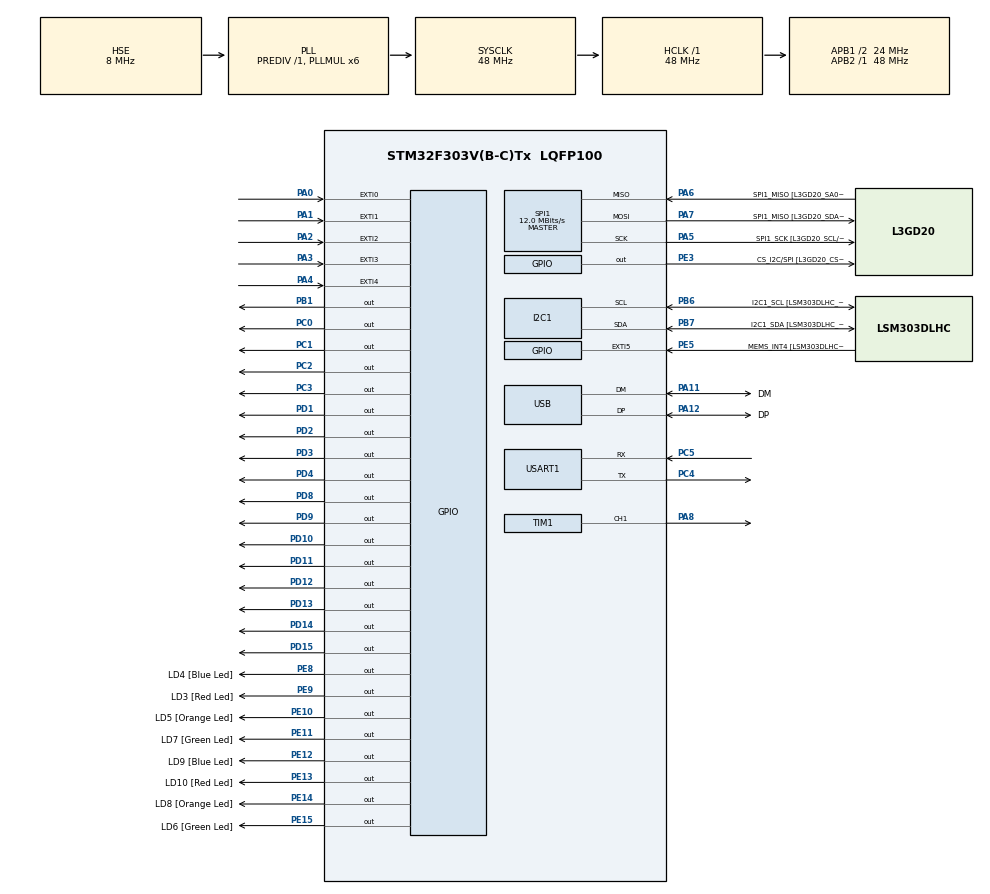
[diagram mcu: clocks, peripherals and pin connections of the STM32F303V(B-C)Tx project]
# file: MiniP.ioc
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I2C1.Timing=0x2000090E
I2C1.Timing-I2C=0x2000090E
Mcu.Family=STM32F3
Mcu.Name=STM32F303V(B-C)Tx
Mcu.Package=LQFP100
NVIC.EXTI0_IRQn=true\:0\:0\:false\:false\:true\:true\:true
NVIC.EXTI1_IRQn=true\:0\:0\:false\:false\:true\:true\:true
NVIC.EXTI2_TSC_IRQn=true\:0\:0\:false\:false\:true\:true\:true
NVIC.EXTI3_IRQn=true\:0\:0\:false\:false\:true\:true\:true
NVIC.EXTI4_IRQn=true\:0\:0\:false\:false\:true\:true\:true
NVIC.PriorityGroup=NVIC_PRIORITYGROUP_0
NVIC.TIM2_IRQn=true\:0\:0\:false\:false\:true\:true\:true
NVIC.TIM3_IRQn=true\:0\:0\:false\:false\:true\:true\:true
NVIC.TIM4_IRQn=true\:0\:0\:false\:false\:true\:true\:true
NVIC.USART1_IRQn=true\:0\:0\:false\:false\:true\:true\:true
PA0.Signal=GPXTI0
PA1.Signal=GPXTI1
PA11.GPIO_Label=DM
PA11.Mode=Device
PA11.Signal=USB_DM
PA12.GPIO_Label=DP
PA12.Mode=Device
PA12.Signal=USB_DP
PA13.GPIO_Label=SWDIO
PA13.Mode=Serial_Wire
PA13.Signal=SYS_JTMS-SWDIO
PA14.GPIO_Label=SWCLK
PA14.Mode=Serial_Wire
PA14.Signal=SYS_JTCK-SWCLK
PA2.Signal=GPXTI2
PA3.GPIO_PuPd=GPIO_PULLDOWN
PA3.Signal=GPXTI3
PA4.GPIO_PuPd=GPIO_PULLDOWN
PA4.Signal=GPXTI4
PA5.GPIO_Label=SPI1_SCK [L3GD20_SCL/SPC]
PA5.Mode=Full_Duplex_Master
PA5.Signal=SPI1_SCK
PA6.GPIO_Label=SPI1_MISO [L3GD20_SA0/SDO]
PA6.Mode=Full_Duplex_Master
PA6.Signal=SPI1_MISO
PA7.GPIO_Label=SPI1_MISO [L3GD20_SDA/SDI/SDO]
PA7.Mode=Full_Duplex_Master
PA7.Signal=SPI1_MOSI
PA8.Signal=S_TIM1_CH1
PB1.Signal=GPIO_Output
PB3.GPIO_Label=SWO
PB3.Signal=SYS_JTDO-TRACESWO
PB6.GPIO_Label=I2C1_SCL [LSM303DLHC_SCL]
PB6.GPIO_Pu=GPIO_PULLUP
PB6.Mode=I2C
PB6.Signal=I2C1_SCL
PB7.GPIO_Label=I2C1_SDA [LSM303DLHC_SDA]
PB7.GPIO_Pu=GPIO_PULLUP
PB7.Mode=I2C
PB7.Signal=I2C1_SDA
PC0.Signal=GPIO_Output
PC1.Signal=GPIO_Output
PC14-OSC32_IN.GPIO_Label=OSC32_IN
PC14-OSC32_IN.Signal=RCC_OSC32_IN
PC15-OSC32_OUT.GPIO_Label=OSC32_OUT
PC15-OSC32_OUT.Signal=RCC_OSC32_OUT
PC2.Signal=GPIO_Output
PC3.Signal=GPIO_Output
PC4.Mode=Asynchronous
PC4.Signal=USART1_TX
PC5.Mode=Asynchronous
PC5.Signal=USART1_RX
PD1.Signal=GPIO_Output
PD10.Signal=GPIO_Output
PD11.Signal=GPIO_Output
PD12.Signal=GPIO_Output
PD13.Signal=GPIO_Output
PD14.Signal=GPIO_Output
PD15.Signal=GPIO_Output
PD2.Signal=GPIO_Output
PD3.Signal=GPIO_Output
PD4.Signal=GPIO_Output
PD8.Signal=GPIO_Output
PD9.Signal=GPIO_Output
PE10.GPIO_Label=LD5 [Orange Led]
PE10.Signal=GPIO_Output
PE11.GPIO_Label=LD7 [Green Led]
PE11.Signal=GPIO_Output
PE12.GPIO_Label=LD9 [Blue Led]
PE12.Signal=GPIO_Output
PE13.GPIO_Label=LD10 [Red Led]
PE13.Signal=GPIO_Output
PE14.GPIO_Label=LD8 [Orange Led]
PE14.Signal=GPIO_Output
PE15.GPIO_Label=LD6 [Green Led]
PE15.Signal=GPIO_Output
PE3.GPIO_Label=CS_I2C/SPI [L3GD20_CS_I2C/SPI]
PE3.Signal=GPIO_Output
PE5.GPIO_Label=MEMS_INT4 [LSM303DLHC_INT2]
PE5.GPIO_ModeDefaultEXTI=GPIO_MODE_EVT_RISING
PE5.Signal=GPXTI5
PE8.GPIO_Label=LD4 [Blue Led]
PE8.Signal=GPIO_Output
PE9.GPIO_Label=LD3 [Red Led]
PE9.Signal=GPIO_Output
PF0-OSC_IN.GPIO_Label=OSC_IN
PF0-OSC_IN.Mode=HSE-External-Clock-Source
PF0-OSC_IN.Signal=RCC_OSC_IN
PF1-OSC_OUT.GPIO_Label=OSC_OUT
PF1-OSC_OUT.Signal=RCC_OSC_OUT
ProjectManager.HeapSize=0x200
ProjectManager.StackSize=0x400
ProjectManager.TargetToolchain=STM32CubeIDE
RCC.AHBFreq_Value=48000000
RCC.APB1CLKDivider=RCC_HCLK_DIV2
RCC.APB1Freq_Value=24000000
RCC.APB1TimFreq_Value=48000000
RCC.APB2Freq_Value=48000000
RCC.APB2TimFreq_Value=48000000
RCC.CortexFreq_Value=48000000
RCC.HCLKFreq_Value=48000000
RCC.HSE_VALUE=8000000
RCC.HSI_VALUE=8000000
RCC.LSE_VALUE=32768
RCC.PLLMUL=RCC_PLL_MUL6
RCC.SYSCLKFreq_VALUE=48000000
RCC.SYSCLKSourceVirtual=RCC_SYSCLKSOURCE_PLLCLK
RCC.USBFreq_Value=48000000
SH.S_TIM1_CH1.0=TIM1_CH1,PWM Generation1 CH1
SPI1.BaudRatePrescaler=SPI_BAUDRATEPRESCALER_4
SPI1.BaudRatePrescaler-Full_Duplex_Master=SPI_BAUDRATEPRESCALER_2
SPI1.CalculateBaudRate=12.0 MBits/s
SPI1.CalculateBaudRate-Full_Duplex_Master=24.0 MBits/s
SPI1.Direction=SPI_DIRECTION_2LINES
SPI1.Mode=SPI_MODE_MASTER
SPI1.Mode-Full_Duplex_Master=SPI_MODE_MASTER
SPI1.VirtualType=VM_MASTER
TIM1.Channel-PWM\ Generation1\ CH1=TIM_CHANNEL_1
TIM2.Period=1000
TIM2.Prescaler=143
TIM3.Period=10000
TIM3.Prescaler=4799
TIM4.Period=10000
TIM4.Prescaler=1199
USART1.VirtualMode-Asynchronous=VM_ASYNC
VP_TIM1_VS_ClockSourceINT.Mode=Internal
VP_TIM2_VS_ClockSourceINT.Mode=Internal
VP_TIM3_VS_ClockSourceINT.Mode=Internal
VP_TIM4_VS_ClockSourceINT.Mode=Internal
board=STM32F3DISCOVERY

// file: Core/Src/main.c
/* USER CODE BEGIN Header */
/**
  ******************************************************************************
  * @file           : main.c
  * @brief          : Main program body
  ******************************************************************************
  * @attention
  *
  * <h2><center>&copy; Copyright (c) 2022 STMicroelectronics.
  * All rights reserved.</center></h2>
  *
  * This software component is licensed by ST under BSD 3-Clause license,
  * the "License"; You may not use this file except in compliance with the
  * License. You may obtain a copy of the License at:
  *                        opensource.org/licenses/BSD-3-Clause
  *
  ******************************************************************************
  */
/* USER CODE END Header */
#include "main.h"

/* USER CODE BEGIN Includes */
#include <stdlib.h>
#include <string.h>
#include <malloc.h>

/* USER CODE END Includes */

/* USER CODE BEGIN PTD */
typedef enum {down=-1, fixed,up} direction;
typedef enum {false, true} bool;
typedef enum {off, on} key;
typedef struct
{
    uint16_t frequency;
    uint16_t duration;
} Tone;
/* USER CODE END PTD */

/* USER CODE BEGIN PD */
#define MINWAIT 500
#define MAXWAIT 5000
#define QMINLENGTH 1
#define QMAXLENGTH 9
#define MINMELODYNUM 1
#define MAXMELODYNUM MINMELODYNUM + melodyCount -1

/* USER CODE END PD */

I2C_HandleTypeDef hi2c1;

SPI_HandleTypeDef hspi1;

TIM_HandleTypeDef htim1;
TIM_HandleTypeDef htim2;
TIM_HandleTypeDef htim3;
TIM_HandleTypeDef htim4;

UART_HandleTypeDef huart1;

PCD_HandleTypeDef hpcd_USB_FS;

/* USER CODE BEGIN PV */
key alarmed=off;
key alarmedLED=on;
key alarmedLEDEntry=on;
key alarmedLEDTurn=on;
key music=on;
key musicEntry=on;
key adminPanel=false;
direction dir=fixed;
int i=0;
int last=0;
int curLevel=0;
int minLevel=0;
int maxLevel=9;
int pass=123;
int passEntry;
int maxLevelEntry=9;
int curLevelEntry=9;
int waitEntry=900;
int extraCommonLevels=0;
int melodyCount=2;
int melodyNum=1;
int melodyNumEntry=1;
int curDest=0;
int newDest=0;
int qLength=0;
int digitIndex=0;
int waitDuration=2000;
TIM_HandleTypeDef *wait_timer = &htim3;	// Point to PWM Timer configured in CubeMX
int levelsQueue[QMAXLENGTH];
int levelsQueueEntry[QMAXLENGTH];//NULL
char input[20];//"20c"
char sample[QMAXLENGTH];
//int sample;
char OTest[5];
char output[50];
/* USER CODE END PV */

void SystemClock_Config(void);
static void MX_GPIO_Init(void);
static void MX_I2C1_Init(void);
static void MX_SPI1_Init(void);
static void MX_USB_PCD_Init(void);
static void MX_TIM2_Init(void);
static void MX_TIM3_Init(void);
static void MX_TIM4_Init(void);
static void MX_USART1_UART_Init(void);
static void MX_TIM1_Init(void);
/* USER CODE BEGIN PFP */
int round100(int);
char* keyName(int keyValue);
void selectionSort(int[], int);
char* substring(char*, int, int);
void setMelody(int i);
extern volatile uint16_t volume;
extern Tone super_mario_bros[];
extern Tone harrypotter[];
extern int super_mario_bros_size;
extern int harrypotter_size;
extern void PWM_Start();
extern void PWM_Change_Tone(uint16_t pwm_freq, uint16_t volume);
extern void Change_Melody(const Tone *melody, uint16_t tone_count);
extern void Update_Melody();
extern void numberToBCD(int i);
extern void showSS(int i);
/* USER CODE END PFP */

/* USER CODE BEGIN 0 */
void testNum(char text[50],int num){
	char OPTest[50];
	sprintf(OPTest, "%s:%d\n", text,num);
	HAL_UART_Transmit(&huart1, OPTest, strlen(OPTest),100);
}
void deQueue(){
	curDest=levelsQueue[0];
	qLength--;
	for(int i=0;i<qLength;i++)
		levelsQueue[i]=levelsQueue[i+1];
	levelsQueue[qLength]=NULL;
	HAL_GPIO_WritePin(GPIOE, GPIO_PIN_8<<i%8, 1);
	i++;
}
void HAL_TIM_PeriodElapsedCallback(TIM_HandleTypeDef *htim)
{
    if (htim->Instance == TIM2)
    {
    	//Test
    	//sprintf(output, "%d-", curLevel);
	    //HAL_UART_Transmit(&huart1, output, strlen(output),100);

    	//Seven Segment
    	  HAL_GPIO_WritePin(GPIOD, GPIO_PIN_1|GPIO_PIN_2|GPIO_PIN_3|GPIO_PIN_4, 1);
    	  if(!(alarmed && !alarmedLEDTurn)){
    		  HAL_GPIO_WritePin(GPIOD,GPIO_PIN_0<<(digitIndex+1),0);
    	  }

    	  showSS(digitIndex+1);
    	  digitIndex++;
    	  digitIndex%=4;

    	//LED
			HAL_GPIO_WritePin(GPIOB,GPIO_PIN_1,alarmed && alarmedLED && alarmedLEDTurn);

		//Direction
			dir=(curDest<=curLevel)?((curDest<curLevel)?-1:0):1;

    	//Buzzer
		if(alarmed){
			HAL_GPIO_WritePin(GPIOE,GPIO_PIN_8<<0,2);
			const uint32_t internal_clock_freq = HAL_RCC_GetSysClockFreq();
			const uint32_t period_cycles = (waitDuration<2000)?10000:20000;
			const uint32_t prescaler =  internal_clock_freq/1000*waitDuration / period_cycles ;
			wait_timer->Instance->PSC = prescaler -1 ;
			wait_timer->Instance->ARR = period_cycles;
			}
		else if(music){
			HAL_GPIO_WritePin(GPIOE,GPIO_PIN_8<<0,1);
			  Update_Melody();
		}
		}

    if (htim->Instance == TIM3)
    {

    	if(curLevel==curDest){
    		if(qLength!=0){
    			HAL_GPIO_WritePin(GPIOE, GPIO_PIN_8<<i%8, 1);
    			i++;
    			deQueue();
    		}
    	}
    	else{
    		(curLevel<curDest)?curLevel++:curLevel--;
    	}

    }
    if (htim->Instance == TIM4)
    {

    	alarmedLEDTurn=!alarmedLEDTurn;
    	volume=volume?0:3;
    	if(alarmed)
    	PWM_Change_Tone(300,volume);
    }

}
void HAL_GPIO_EXTI_Callback(uint16_t GPIO_Pin)
{
	if(HAL_GetTick()-last<100){
		  return;
	  }

	else if (GPIO_Pin == GPIO_PIN_0){
    	}
	else if (GPIO_Pin == GPIO_PIN_1 && HAL_GPIO_ReadPin(GPIOA, GPIO_PIN_1)){
    	alarmed=!alarmed;
		sprintf(output, "Alarm button pressed!-->Alarm state is[%s]!\n", keyName(alarmed));
    	PWM_Change_Tone(300,0);
    	HAL_GPIO_WritePin(GPIOB,GPIO_PIN_1,0);
    }
	else if (GPIO_Pin == GPIO_PIN_2 && HAL_GPIO_ReadPin(GPIOA, GPIO_PIN_2)){
		if(qLength<5){
			int qIndex=0;
    		for(qIndex=0;qIndex<QMAXLENGTH;qIndex++)
    			if(newDest==levelsQueue[qIndex-1]){
    				sprintf(output, "Assign button pressed!-->new destination[%d] exists in level queue!\n", newDest);
    				return;
    			}
    		if(qIndex==QMAXLENGTH){
    			sprintf(output, "Assign button pressed!-->new destination[%d] assigned to level queue successfully!\n", newDest);
    			levelsQueue[qLength++]=newDest;
    			selectionSort(levelsQueue,qLength);
    			for(qIndex=0;qIndex<qLength/2;qIndex++){
    				if(levelsQueue[qIndex]<curDest){
    					int temp=levelsQueue[qIndex];
    					levelsQueue[qIndex]=levelsQueue[qLength-1];
    					levelsQueue[qLength-1]=temp;
    				}

    			}
    		}
		}
    }
	else if (GPIO_Pin == GPIO_PIN_3 ){
    	if(0<newDest){
    		newDest--;
    		sprintf(output, "decrease level button pressed!-->new potential destination is[%d]!\n", newDest);
    	}
    	else{
    		sprintf(output, "decrease level button pressed!-->potential destination had already reached to its minimum level[%d]!\n", minLevel);
    	}

	}
	else if (GPIO_Pin == GPIO_PIN_4){
		if(newDest<maxLevel){
			newDest++;
		    sprintf(output, "Increase level button pressed!-->new potential destination is[%d]!\n", newDest);
		}
		else{
		    sprintf(output, "Increase level button pressed!-->potential destination had already reached to its maximum level[%d]!\n", maxLevel);
		 }

	}
	HAL_UART_Transmit(&huart1, output, strlen(output),100);
    last=HAL_GetTick();
}
/*ADMIN#Pass065 068 077 073 078 035 049 050 051 000 000 000 000 000 000 000 000 000 000 000 000 000 000 000 000 000 000 000
 *SET MAX LEVEL [99]083 069 084 032 077 065 088 032 076 069 086 069 076 032 091 057 057 093 000 000 000 000 000 000 000 000 000 000
 *SET LEVEL [9]083 069 084 032 076 069 086 069 076 032 091 057 093 000 000 000 000 000 000 000 000 000 000 000 000 000 000 000
 *SET WAIT [900]083 069 084 032 087 065 073 084 032 091 057 048 048 093 000 000 000 000 000 000 000 000 000 000 000 000 000 000
 *SET LED OFF083 069 084 032 076 069 068 032 079 070 070 000 000 000 000 000 000 000 000 000 000 000 000 000 000 000 000 000
 *SET MUSIC OFF083 069 084 032 076 069 068 032 079 070 070 000 000 000 000 000 000 000 000 000 000 000 000 000 000 000 000 000
 *SET MELODY [2]083 069 084 032 077 069 076 079 068 089 032 091 050 093 000 000 000 000 000 000 000 000 000 000 000 000 000 000
 *TEST#sample084 069 083 084 035 050 048 051 049 057 000 000 000 000 000 000 000 000 000 000 000 000 000 000 000 000 000 000
 * */
void HAL_UART_RxCpltCallback(UART_HandleTypeDef *huart)
{
    if (huart->Instance == USART1)
    {
    	if(qLength==0){
    		if(!strcmp(substring(input, 1, 6),"ADMIN#")){
    		    //strncpy(sample, substring(input, 7, 14), 14);
    		    passEntry = atoi(substring(input, 7, 14));
    		    if(adminPanel){
    				sprintf(output, "You have already entered the admin panel successfully!\n");
    			}
    		    else{
    		    	if(passEntry==pass){
    		    		adminPanel=true;
    		    	    sprintf(output, "You entered the admin panel successfully!\n");
    		    	}else{
    		    		sprintf(output, "Wrong password!\n");
    		    	}
    		    }
    		}
    		else{
    			sprintf(output, "Please Enter the admin panel first!\n");
    		}
    		if(adminPanel){
				if(!strcmp(substring(input, 1, 4),"SET ")){
					if(!strcmp(substring(input, 5, 10),"MAX LEVEL ")){
					  //not string

						maxLevelEntry = atoi(substring(input, 16, 5));
						//sscanf(substring(input, 16, 1), "%d", &maxLevelEntry);
						if(maxLevelEntry<0){
							sprintf(output, "New max level[%d] is Less Than 0!\n", maxLevelEntry);
						}
						else if(9<maxLevelEntry){
							sprintf(output, "New max level[%d] is more Than 9!\n", maxLevelEntry);
						}
						else{
							sprintf(output, "New max level[%d] assigned successfully!\n", maxLevelEntry);
							maxLevel=maxLevelEntry;
						}

						//sprintf(OTest, "%d\n", maxLevel);
						//HAL_GPIO_WritePin(GPIOE, GPIO_PIN_8<<maxLevel-5, 1);
						//HAL_UART_Transmit(&huart1, OTest, sizeof(OTest),100);
					}
					else if(!strcmp(substring(input, 5, 6),"LEVEL ")){
						curLevelEntry = atoi(substring(input, 12, 9));
						if(curLevelEntry<0){
							sprintf(output, "New level[%d] is Less Than max level[%d]!\n", curLevelEntry, maxLevel);
						}
						else if(maxLevel<curLevelEntry){
							sprintf(output, "New level[%d] is more Than max level[%d]!\n", curLevelEntry, maxLevel);
						}
						else{
							sprintf(output, "New level[%d] assigned successfully!\n", curLevelEntry);
							curLevel=curLevelEntry;
							curDest=curLevel;
						}
					}
					else if(!strcmp(substring(input, 5, 5),"WAIT ")){
						waitEntry = atoi(substring(input, 11, 10));
						if(waitEntry<MINWAIT){
							sprintf(output, "New wait[%d] is Less Than min wait[%d]!\n", waitEntry, MINWAIT);
						}
						else if(MAXWAIT<waitEntry){
							sprintf(output, "New wait[%d] is more Than max wait[%d]!\n", waitEntry, MAXWAIT);
						}
						else{
							if(waitEntry%100==0)
								sprintf(output, "New wait[%d] assigned successfully!\n", waitEntry);
							else
								sprintf(output, "Approximated value[%d] from new wait[%d] assigned successfully!\n",round100(waitEntry), waitEntry);
							waitDuration=waitEntry;
						}
					}
					else if(!strcmp(substring(input, 5, 4),"LED ")){
						alarmedLEDEntry=strcmp(substring(input, 9, 2),"OF")?1:0;
						sprintf(output, "New alarmed LED state[%s] assigned to old alarmed LED state[%s] successfully!\n", keyName(alarmedLEDEntry), keyName(alarmedLED));
						//testNum("alarmedLEDEntry",alarmedLEDEntry);
						//testNum("alarmedLED",alarmedLED);
						alarmedLED=alarmedLEDEntry;

						}
					else if(!strcmp(substring(input, 5, 6),"MUSIC ")){
						musicEntry=strcmp(substring(input, 11, 2),"OF")?1:0;
						sprintf(output, "New MUSIC state[%s] assigned to old MUSIC state[%s] successfully!\n", keyName(musicEntry), keyName(music));
						//testNum("musicEntry",musicEntry);
						//testNum("music",music);
						music=musicEntry;
						PWM_Change_Tone(0,0);
						}
					else if(!strcmp(substring(input, 5, 7),"MELODY ")){
						melodyNumEntry = atoi(substring(input, 13, 8));
						if(melodyNumEntry<MINMELODYNUM){
							sprintf(output, "New melody number[%d] is Less Than min melody number[%d]!\n", melodyNumEntry, MINMELODYNUM);
						}
						else if(MAXMELODYNUM<melodyNumEntry){
							sprintf(output, "New melody number[%d] is more Than max melody number[%d]!\n", melodyNumEntry, MAXMELODYNUM);
							}
						else if(melodyNumEntry==melodyNum){
							sprintf(output, "New melody number[%d] is same as old melody number[%d]!\n", melodyNumEntry, melodyNum);
						}
						else{
							sprintf(output, "New melody number[%d] assigned to old melody number[%d] successfully!!\n", melodyNumEntry, melodyNum);
							melodyNum=melodyNumEntry;
							setMelody(melodyNum);
						}
						//testNum("musicEntry",musicEntry);
						//testNum("music",music);
						music=musicEntry;
						PWM_Change_Tone(0,0);
						}
				}
				else if(!strcmp(substring(input, 1, 5),"TEST#")){
					strncpy(sample, substring(input, 6, 15), 15);
					if(strlen(sample)<QMINLENGTH){
						sprintf(output, "New sample queue[%s] size[%d] is Less Than queue min length[%d]!\n", sample,strlen(sample), QMINLENGTH);
					}
					else if(QMAXLENGTH<strlen(sample)){
						sprintf(output, "New sample queue[%s] size[%d] is more Than queue max length[%d]!\n", sample,strlen(sample), QMAXLENGTH);
					}
					else{
						for(int i=0;i<strlen(sample);i++){
							sscanf(substring(sample, i+1, 1), "%d", &levelsQueueEntry[i]);
						}
						selectionSort(levelsQueueEntry, strlen(sample));
						extraCommonLevels=0;
						for(int i=1;i<strlen(sample);i++){
							if(levelsQueueEntry[i-1]==levelsQueueEntry[i]){
								extraCommonLevels++;
							}
						}
						if(extraCommonLevels){
							sprintf(output, "New sample queue[%s] has [%d] extra common levels!\n", sample,extraCommonLevels);
						}
						else{
							sprintf(output, "New sample queue[%s] assigned successfully!\n", sample,extraCommonLevels);
							qLength=strlen(sample);
							for(int i=0;i<qLength;i++){
								levelsQueue[i]=levelsQueueEntry[i];
								//testNum("levelsQueue[i]",levelsQueue[i]);
							}
							//testNum("levelsQueue[0]",qLength);
							selectionSort(levelsQueue,qLength);

						}
					}
					//waitEntry = atoi(substring(input, 6, 5));

				}
			}
    	}
    	else{
    		sprintf(output, "Please wait until the queue gets empty!\n", maxLevelEntry);
    	}
    	HAL_UART_Transmit(&huart1, output, strlen(output),100);
        //HAL_UART_Receive_IT(&huart1, input, 20);

    }
    //HAL_UART_Receive_IT(&huart1, input, 20);
}
/* USER CODE END 0 */

int main(void)
{

  /* MCU Configuration--------------------------------------------------------*/

  /* Reset of all peripherals, Initializes the Flash interface and the Systick. */
  HAL_Init();

  /* Configure the system clock */
  SystemClock_Config();

  /* Initialize all configured peripherals */
  MX_GPIO_Init();
  MX_I2C1_Init();
  MX_SPI1_Init();
  MX_USB_PCD_Init();
  MX_TIM2_Init();
  MX_TIM3_Init();
  MX_TIM4_Init();
  MX_USART1_UART_Init();
  MX_TIM1_Init();
  /* USER CODE BEGIN 2 */
	HAL_TIM_Base_Start_IT(&htim2);
	HAL_TIM_Base_Start_IT(&htim3);
	HAL_TIM_Base_Start_IT(&htim4);
	PWM_Start();
	setMelody(1);
	HAL_UART_Receive_IT(&huart1, input, sizeof(input));
	//testNum("volume",volume);
  /* USER CODE END 2 */

  /* Infinite loop */
  while (1)
  {

  }
}

void SystemClock_Config(void)
{
  RCC_OscInitTypeDef RCC_OscInitStruct = {0};
  RCC_ClkInitTypeDef RCC_ClkInitStruct = {0};
  RCC_PeriphCLKInitTypeDef PeriphClkInit = {0};

  /** Initializes the RCC Oscillators according to the specified parameters
  * in the RCC_OscInitTypeDef structure.
  */
  RCC_OscInitStruct.OscillatorType = RCC_OSCILLATORTYPE_HSI|RCC_OSCILLATORTYPE_HSE;
  RCC_OscInitStruct.HSEState = RCC_HSE_BYPASS;
  RCC_OscInitStruct.HSEPredivValue = RCC_HSE_PREDIV_DIV1;
  RCC_OscInitStruct.HSIState = RCC_HSI_ON;
  RCC_OscInitStruct.HSICalibrationValue = RCC_HSICALIBRATION_DEFAULT;
  RCC_OscInitStruct.PLL.PLLState = RCC_PLL_ON;
  RCC_OscInitStruct.PLL.PLLSource = RCC_PLLSOURCE_HSE;
  RCC_OscInitStruct.PLL.PLLMUL = RCC_PLL_MUL6;
  if (HAL_RCC_OscConfig(&RCC_OscInitStruct) != HAL_OK)
  {
    Error_Handler();
  }
  /** Initializes the CPU, AHB and APB buses clocks
  */
  RCC_ClkInitStruct.ClockType = RCC_CLOCKTYPE_HCLK|RCC_CLOCKTYPE_SYSCLK
                              |RCC_CLOCKTYPE_PCLK1|RCC_CLOCKTYPE_PCLK2;
  RCC_ClkInitStruct.SYSCLKSource = RCC_SYSCLKSOURCE_PLLCLK;
  RCC_ClkInitStruct.AHBCLKDivider = RCC_SYSCLK_DIV1;
  RCC_ClkInitStruct.APB1CLKDivider = RCC_HCLK_DIV2;
  RCC_ClkInitStruct.APB2CLKDivider = RCC_HCLK_DIV1;

  if (HAL_RCC_ClockConfig(&RCC_ClkInitStruct, FLASH_LATENCY_1) != HAL_OK)
  {
    Error_Handler();
  }
  PeriphClkInit.PeriphClockSelection = RCC_PERIPHCLK_USB|RCC_PERIPHCLK_USART1
                              |RCC_PERIPHCLK_I2C1|RCC_PERIPHCLK_TIM1;
  PeriphClkInit.Usart1ClockSelection = RCC_USART1CLKSOURCE_PCLK2;
  PeriphClkInit.I2c1ClockSelection = RCC_I2C1CLKSOURCE_HSI;
  PeriphClkInit.USBClockSelection = RCC_USBCLKSOURCE_PLL;
  PeriphClkInit.Tim1ClockSelection = RCC_TIM1CLK_HCLK;
  if (HAL_RCCEx_PeriphCLKConfig(&PeriphClkInit) != HAL_OK)
  {
    Error_Handler();
  }
}

static void MX_I2C1_Init(void)
{

  hi2c1.Instance = I2C1;
  hi2c1.Init.Timing = 0x2000090E;
  hi2c1.Init.OwnAddress1 = 0;
  hi2c1.Init.AddressingMode = I2C_ADDRESSINGMODE_7BIT;
  hi2c1.Init.DualAddressMode = I2C_DUALADDRESS_DISABLE;
  hi2c1.Init.OwnAddress2 = 0;
  hi2c1.Init.OwnAddress2Masks = I2C_OA2_NOMASK;
  hi2c1.Init.GeneralCallMode = I2C_GENERALCALL_DISABLE;
  hi2c1.Init.NoStretchMode = I2C_NOSTRETCH_DISABLE;
  if (HAL_I2C_Init(&hi2c1) != HAL_OK)
  {
    Error_Handler();
  }
  /** Configure Analogue filter
  */
  if (HAL_I2CEx_ConfigAnalogFilter(&hi2c1, I2C_ANALOGFILTER_ENABLE) != HAL_OK)
  {
    Error_Handler();
  }
  /** Configure Digital filter
  */
  if (HAL_I2CEx_ConfigDigitalFilter(&hi2c1, 0) != HAL_OK)
  {
    Error_Handler();
  }

}

static void MX_SPI1_Init(void)
{

  /* SPI1 parameter configuration*/
  hspi1.Instance = SPI1;
  hspi1.Init.Mode = SPI_MODE_MASTER;
  hspi1.Init.Direction = SPI_DIRECTION_2LINES;
  hspi1.Init.DataSize = SPI_DATASIZE_4BIT;
  hspi1.Init.CLKPolarity = SPI_POLARITY_LOW;
  hspi1.Init.CLKPhase = SPI_PHASE_1EDGE;
  hspi1.Init.NSS = SPI_NSS_SOFT;
  hspi1.Init.BaudRatePrescaler = SPI_BAUDRATEPRESCALER_4;
  hspi1.Init.FirstBit = SPI_FIRSTBIT_MSB;
  hspi1.Init.TIMode = SPI_TIMODE_DISABLE;
  hspi1.Init.CRCCalculation = SPI_CRCCALCULATION_DISABLE;
  hspi1.Init.CRCPolynomial = 7;
  hspi1.Init.CRCLength = SPI_CRC_LENGTH_DATASIZE;
  hspi1.Init.NSSPMode = SPI_NSS_PULSE_ENABLE;
  if (HAL_SPI_Init(&hspi1) != HAL_OK)
  {
    Error_Handler();
  }

}

static void MX_TIM1_Init(void)
{

  TIM_ClockConfigTypeDef sClockSourceConfig = {0};
  TIM_MasterConfigTypeDef sMasterConfig = {0};
  TIM_OC_InitTypeDef sConfigOC = {0};
  TIM_BreakDeadTimeConfigTypeDef sBreakDeadTimeConfig = {0};

  htim1.Instance = TIM1;
  htim1.Init.Prescaler = 0;
  htim1.Init.CounterMode = TIM_COUNTERMODE_UP;
  htim1.Init.Period = 65535;
  htim1.Init.ClockDivision = TIM_CLOCKDIVISION_DIV1;
  htim1.Init.RepetitionCounter = 0;
  htim1.Init.AutoReloadPreload = TIM_AUTORELOAD_PRELOAD_DISABLE;
  if (HAL_TIM_Base_Init(&htim1) != HAL_OK)
  {
    Error_Handler();
  }
  sClockSourceConfig.ClockSource = TIM_CLOCKSOURCE_INTERNAL;
  if (HAL_TIM_ConfigClockSource(&htim1, &sClockSourceConfig) != HAL_OK)
  {
    Error_Handler();
  }
  if (HAL_TIM_PWM_Init(&htim1) != HAL_OK)
  {
    Error_Handler();
  }
  sMasterConfig.MasterOutputTrigger = TIM_TRGO_RESET;
  sMasterConfig.MasterOutputTrigger2 = TIM_TRGO2_RESET;
  sMasterConfig.MasterSlaveMode = TIM_MASTERSLAVEMODE_DISABLE;
  if (HAL_TIMEx_MasterConfigSynchronization(&htim1, &sMasterConfig) != HAL_OK)
  {
    Error_Handler();
  }
  sConfigOC.OCMode = TIM_OCMODE_PWM1;
  sConfigOC.Pulse = 0;
  sConfigOC.OCPolarity = TIM_OCPOLARITY_HIGH;
  sConfigOC.OCNPolarity = TIM_OCNPOLARITY_HIGH;
  sConfigOC.OCFastMode = TIM_OCFAST_DISABLE;
  sConfigOC.OCIdleState = TIM_OCIDLESTATE_RESET;
  sConfigOC.OCNIdleState = TIM_OCNIDLESTATE_RESET;
  if (HAL_TIM_PWM_ConfigChannel(&htim1, &sConfigOC, TIM_CHANNEL_1) != HAL_OK)
  {
    Error_Handler();
  }
  sBreakDeadTimeConfig.OffStateRunMode = TIM_OSSR_DISABLE;
  sBreakDeadTimeConfig.OffStateIDLEMode = TIM_OSSI_DISABLE;
  sBreakDeadTimeConfig.LockLevel = TIM_LOCKLEVEL_OFF;
  sBreakDeadTimeConfig.DeadTime = 0;
  sBreakDeadTimeConfig.BreakState = TIM_BREAK_DISABLE;
  sBreakDeadTimeConfig.BreakPolarity = TIM_BREAKPOLARITY_HIGH;
  sBreakDeadTimeConfig.BreakFilter = 0;
  sBreakDeadTimeConfig.Break2State = TIM_BREAK2_DISABLE;
  sBreakDeadTimeConfig.Break2Polarity = TIM_BREAK2POLARITY_HIGH;
  sBreakDeadTimeConfig.Break2Filter = 0;
  sBreakDeadTimeConfig.AutomaticOutput = TIM_AUTOMATICOUTPUT_DISABLE;
  if (HAL_TIMEx_ConfigBreakDeadTime(&htim1, &sBreakDeadTimeConfig) != HAL_OK)
  {
    Error_Handler();
  }
  HAL_TIM_MspPostInit(&htim1);

}

static void MX_TIM2_Init(void)
{

  TIM_ClockConfigTypeDef sClockSourceConfig = {0};
  TIM_MasterConfigTypeDef sMasterConfig = {0};

  htim2.Instance = TIM2;
  htim2.Init.Prescaler = 143;
  htim2.Init.CounterMode = TIM_COUNTERMODE_UP;
  htim2.Init.Period = 1000;
  htim2.Init.ClockDivision = TIM_CLOCKDIVISION_DIV1;
  htim2.Init.AutoReloadPreload = TIM_AUTORELOAD_PRELOAD_DISABLE;
  if (HAL_TIM_Base_Init(&htim2) != HAL_OK)
  {
    Error_Handler();
  }
  sClockSourceConfig.ClockSource = TIM_CLOCKSOURCE_INTERNAL;
  if (HAL_TIM_ConfigClockSource(&htim2, &sClockSourceConfig) != HAL_OK)
  {
    Error_Handler();
  }
  sMasterConfig.MasterOutputTrigger = TIM_TRGO_RESET;
  sMasterConfig.MasterSlaveMode = TIM_MASTERSLAVEMODE_DISABLE;
  if (HAL_TIMEx_MasterConfigSynchronization(&htim2, &sMasterConfig) != HAL_OK)
  {
    Error_Handler();
  }

}

static void MX_TIM3_Init(void)
{

  TIM_ClockConfigTypeDef sClockSourceConfig = {0};
  TIM_MasterConfigTypeDef sMasterConfig = {0};

  htim3.Instance = TIM3;
  htim3.Init.Prescaler = 4799;
  htim3.Init.CounterMode = TIM_COUNTERMODE_UP;
  htim3.Init.Period = 10000;
  htim3.Init.ClockDivision = TIM_CLOCKDIVISION_DIV1;
  htim3.Init.AutoReloadPreload = TIM_AUTORELOAD_PRELOAD_DISABLE;
  if (HAL_TIM_Base_Init(&htim3) != HAL_OK)
  {
    Error_Handler();
  }
  sClockSourceConfig.ClockSource = TIM_CLOCKSOURCE_INTERNAL;
  if (HAL_TIM_ConfigClockSource(&htim3, &sClockSourceConfig) != HAL_OK)
  {
    Error_Handler();
  }
  sMasterConfig.MasterOutputTrigger = TIM_TRGO_RESET;
  sMasterConfig.MasterSlaveMode = TIM_MASTERSLAVEMODE_DISABLE;
  if (HAL_TIMEx_MasterConfigSynchronization(&htim3, &sMasterConfig) != HAL_OK)
  {
    Error_Handler();
  }

}

static void MX_TIM4_Init(void)
{

  TIM_ClockConfigTypeDef sClockSourceConfig = {0};
  TIM_MasterConfigTypeDef sMasterConfig = {0};

  htim4.Instance = TIM4;
  htim4.Init.Prescaler = 1199;
  htim4.Init.CounterMode = TIM_COUNTERMODE_UP;
  htim4.Init.Period = 10000;
  htim4.Init.ClockDivision = TIM_CLOCKDIVISION_DIV1;
  htim4.Init.AutoReloadPreload = TIM_AUTORELOAD_PRELOAD_DISABLE;
  if (HAL_TIM_Base_Init(&htim4) != HAL_OK)
  {
    Error_Handler();
  }
  sClockSourceConfig.ClockSource = TIM_CLOCKSOURCE_INTERNAL;
  if (HAL_TIM_ConfigClockSource(&htim4, &sClockSourceConfig) != HAL_OK)
  {
    Error_Handler();
  }
  sMasterConfig.MasterOutputTrigger = TIM_TRGO_RESET;
  sMasterConfig.MasterSlaveMode = TIM_MASTERSLAVEMODE_DISABLE;
  if (HAL_TIMEx_MasterConfigSynchronization(&htim4, &sMasterConfig) != HAL_OK)
  {
    Error_Handler();
  }

}

static void MX_USART1_UART_Init(void)
{

  huart1.Instance = USART1;
  huart1.Init.BaudRate = 38400;
  huart1.Init.WordLength = UART_WORDLENGTH_8B;
  huart1.Init.StopBits = UART_STOPBITS_1;
  huart1.Init.Parity = UART_PARITY_NONE;
  huart1.Init.Mode = UART_MODE_TX_RX;
  huart1.Init.HwFlowCtl = UART_HWCONTROL_NONE;
  huart1.Init.OverSampling = UART_OVERSAMPLING_16;
  huart1.Init.OneBitSampling = UART_ONE_BIT_SAMPLE_DISABLE;
  huart1.AdvancedInit.AdvFeatureInit = UART_ADVFEATURE_NO_INIT;
  if (HAL_UART_Init(&huart1) != HAL_OK)
  {
    Error_Handler();
  }

}

static void MX_USB_PCD_Init(void)
{

  hpcd_USB_FS.Instance = USB;
  hpcd_USB_FS.Init.dev_endpoints = 8;
  hpcd_USB_FS.Init.speed = PCD_SPEED_FULL;
  hpcd_USB_FS.Init.phy_itface = PCD_PHY_EMBEDDED;
  hpcd_USB_FS.Init.low_power_enable = DISABLE;
  hpcd_USB_FS.Init.battery_charging_enable = DISABLE;
  if (HAL_PCD_Init(&hpcd_USB_FS) != HAL_OK)
  {
    Error_Handler();
  }

}

static void MX_GPIO_Init(void)
{
  GPIO_InitTypeDef GPIO_InitStruct = {0};

  /* GPIO Ports Clock Enable */
  __HAL_RCC_GPIOE_CLK_ENABLE();
  __HAL_RCC_GPIOC_CLK_ENABLE();
  __HAL_RCC_GPIOF_CLK_ENABLE();
  __HAL_RCC_GPIOA_CLK_ENABLE();
  __HAL_RCC_GPIOB_CLK_ENABLE();
  __HAL_RCC_GPIOD_CLK_ENABLE();

  /*Configure GPIO pin Output Level */
  HAL_GPIO_WritePin(GPIOE, CS_I2C_SPI_Pin|LD4_Pin|LD3_Pin|LD5_Pin
                          |LD7_Pin|LD9_Pin|LD10_Pin|LD8_Pin
                          |LD6_Pin, GPIO_PIN_RESET);

  /*Configure GPIO pin Output Level */
  HAL_GPIO_WritePin(GPIOC, GPIO_PIN_0|GPIO_PIN_1|GPIO_PIN_2|GPIO_PIN_3, GPIO_PIN_RESET);

  /*Configure GPIO pin Output Level */
  HAL_GPIO_WritePin(GPIOB, GPIO_PIN_1, GPIO_PIN_RESET);

  /*Configure GPIO pin Output Level */
  HAL_GPIO_WritePin(GPIOD, GPIO_PIN_8|GPIO_PIN_9|GPIO_PIN_10|GPIO_PIN_11
                          |GPIO_PIN_12|GPIO_PIN_13|GPIO_PIN_14|GPIO_PIN_15
                          |GPIO_PIN_1|GPIO_PIN_2|GPIO_PIN_3|GPIO_PIN_4, GPIO_PIN_RESET);

  /*Configure GPIO pins : CS_I2C_SPI_Pin LD4_Pin LD3_Pin LD5_Pin
                           LD7_Pin LD9_Pin LD10_Pin LD8_Pin
                           LD6_Pin */
  GPIO_InitStruct.Pin = CS_I2C_SPI_Pin|LD4_Pin|LD3_Pin|LD5_Pin
                          |LD7_Pin|LD9_Pin|LD10_Pin|LD8_Pin
                          |LD6_Pin;
  GPIO_InitStruct.Mode = GPIO_MODE_OUTPUT_PP;
  GPIO_InitStruct.Pull = GPIO_NOPULL;
  GPIO_InitStruct.Speed = GPIO_SPEED_FREQ_LOW;
  HAL_GPIO_Init(GPIOE, &GPIO_InitStruct);

  /*Configure GPIO pin : MEMS_INT4_Pin */
  GPIO_InitStruct.Pin = MEMS_INT4_Pin;
  GPIO_InitStruct.Mode = GPIO_MODE_EVT_RISING;
  GPIO_InitStruct.Pull = GPIO_NOPULL;
  HAL_GPIO_Init(MEMS_INT4_GPIO_Port, &GPIO_InitStruct);

  /*Configure GPIO pins : PC0 PC1 PC2 PC3 */
  GPIO_InitStruct.Pin = GPIO_PIN_0|GPIO_PIN_1|GPIO_PIN_2|GPIO_PIN_3;
  GPIO_InitStruct.Mode = GPIO_MODE_OUTPUT_PP;
  GPIO_InitStruct.Pull = GPIO_NOPULL;
  GPIO_InitStruct.Speed = GPIO_SPEED_FREQ_LOW;
  HAL_GPIO_Init(GPIOC, &GPIO_InitStruct);

  /*Configure GPIO pins : PA0 PA1 PA2 */
  GPIO_InitStruct.Pin = GPIO_PIN_0|GPIO_PIN_1|GPIO_PIN_2;
  GPIO_InitStruct.Mode = GPIO_MODE_IT_RISING;
  GPIO_InitStruct.Pull = GPIO_NOPULL;
  HAL_GPIO_Init(GPIOA, &GPIO_InitStruct);

  /*Configure GPIO pins : PA3 PA4 */
  GPIO_InitStruct.Pin = GPIO_PIN_3|GPIO_PIN_4;
  GPIO_InitStruct.Mode = GPIO_MODE_IT_RISING;
  GPIO_InitStruct.Pull = GPIO_PULLDOWN;
  HAL_GPIO_Init(GPIOA, &GPIO_InitStruct);

  /*Configure GPIO pin : PB1 */
  GPIO_InitStruct.Pin = GPIO_PIN_1;
  GPIO_InitStruct.Mode = GPIO_MODE_OUTPUT_PP;
  GPIO_InitStruct.Pull = GPIO_NOPULL;
  GPIO_InitStruct.Speed = GPIO_SPEED_FREQ_LOW;
  HAL_GPIO_Init(GPIOB, &GPIO_InitStruct);

  /*Configure GPIO pins : PD8 PD9 PD10 PD11
                           PD12 PD13 PD14 PD15
                           PD1 PD2 PD3 PD4 */
  GPIO_InitStruct.Pin = GPIO_PIN_8|GPIO_PIN_9|GPIO_PIN_10|GPIO_PIN_11
                          |GPIO_PIN_12|GPIO_PIN_13|GPIO_PIN_14|GPIO_PIN_15
                          |GPIO_PIN_1|GPIO_PIN_2|GPIO_PIN_3|GPIO_PIN_4;
  GPIO_InitStruct.Mode = GPIO_MODE_OUTPUT_PP;
  GPIO_InitStruct.Pull = GPIO_NOPULL;
  GPIO_InitStruct.Speed = GPIO_SPEED_FREQ_LOW;
  HAL_GPIO_Init(GPIOD, &GPIO_InitStruct);

  /* EXTI interrupt init*/
  HAL_NVIC_SetPriority(EXTI0_IRQn, 0, 0);
  HAL_NVIC_EnableIRQ(EXTI0_IRQn);

  HAL_NVIC_SetPriority(EXTI1_IRQn, 0, 0);
  HAL_NVIC_EnableIRQ(EXTI1_IRQn);

  HAL_NVIC_SetPriority(EXTI2_TSC_IRQn, 0, 0);
  HAL_NVIC_EnableIRQ(EXTI2_TSC_IRQn);

  HAL_NVIC_SetPriority(EXTI3_IRQn, 0, 0);
  HAL_NVIC_EnableIRQ(EXTI3_IRQn);

  HAL_NVIC_SetPriority(EXTI4_IRQn, 0, 0);
  HAL_NVIC_EnableIRQ(EXTI4_IRQn);

}

/* USER CODE BEGIN 4 */
char *substring(char *string, int position, int length)
{
   char *p;
   int c;

   p = malloc(length+1);

   if (p == NULL)
   {
      printf("Unable to allocate memory.\n");
      exit(1);
   }

   for (c = 0; c < length; c++)
   {
      *(p+c) = *(string+position-1);
      string++;
   }

   *(p+c) = '\0';

   return p;
}
int round100(int n){
	return 100*(n/100+((n%100)/50));
}
char* keyName(int keyValue){
	return keyValue?"ON":"OFF";
}
void swap(int* xp, int* yp)
{
    int temp = *xp;
    *xp = *yp;
    *yp = temp;
}

// Function to perform Selection Sort
void selectionSort(int arr[], int n)
{
    int i, j, min_idx;

    // One by one move boundary of unsorted subarray
    for (i = 0; i < n - 1; i++) {

        // Find the minimum element in unsorted array
        min_idx = i;
        for (j = i + 1; j < n; j++)
            if (arr[j] < arr[min_idx])
                min_idx = j;

        // Swap the found minimum element
        // with the first element
        swap(&arr[min_idx], &arr[i]);
    }
}
void setMelody(int i){
	if(i==1)
		Change_Melody(harrypotter, harrypotter_size);
	else if(i==2){
		Change_Melody(super_mario_bros, super_mario_bros_size);
	}
}
/* USER CODE END 4 */

void Error_Handler(void)
{
  __disable_irq();
  while (1)
  {
  }
}

/************************ (C) COPYRIGHT STMicroelectronics *****END OF FILE****/
